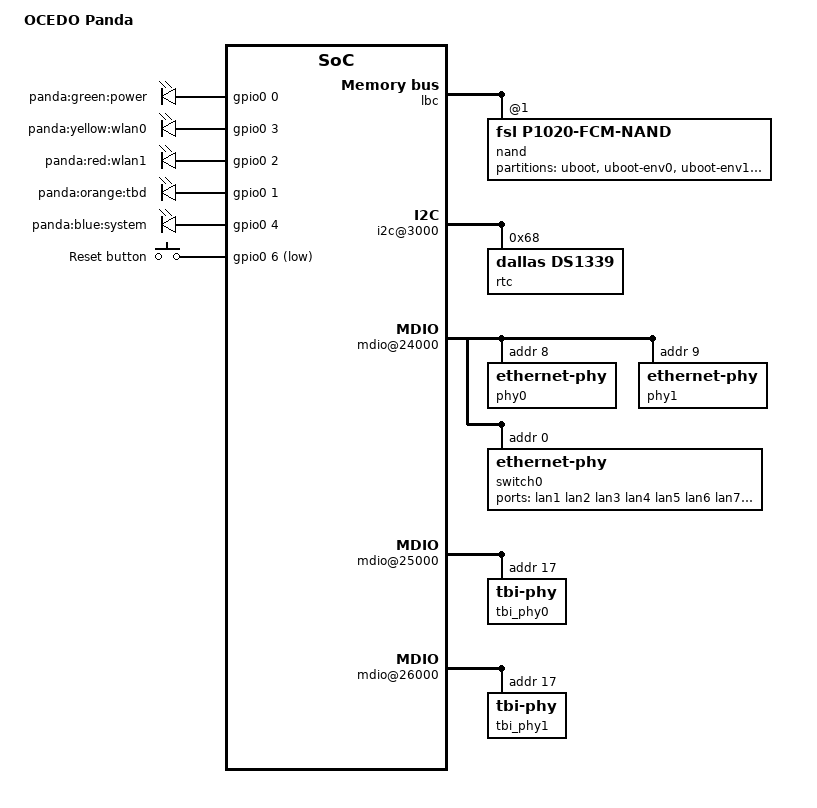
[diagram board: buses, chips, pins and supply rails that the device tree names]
// SPDX-License-Identifier: GPL-2.0-or-later or MIT

/include/ "fsl/p1020si-pre.dtsi"
/ {
	model = "OCEDO Panda";
	compatible = "ocedo,panda";

	aliases {
		led-boot = &system_blue;
		led-failsafe = &system_blue;
		led-running = &system_blue;
		led-upgrade = &system_blue;
	};

	chosen {
		/* Needed for initramfs */
		bootargs-override = "console=ttyS0,115200 ubi.mtd=3,2048";
	};

	memory {
		device_type = "memory";
	};

	lbc: localbus@ffe05000 {
		reg = <0 0xffe05000 0 0x1000>;
		ranges = <0x0 0x0 0x0 0xec000000 0x04000000
			  0x1 0x0 0x0 0xff800000 0x00040000
			  0x2 0x0 0x0 0xffa00000 0x00020000
			  0x3 0x0 0x0 0xffb00000 0x00020000>;

		nand@1,0 {
			compatible = "fsl,p1020-fcm-nand", "fsl,elbc-fcm-nand";
			reg = <0x1 0x0 0x40000>;

			partitions {
				compatible = "fixed-partitions";
				#address-cells = <1>;
				#size-cells = <1>;

				partition@0 {
					reg = <0x0 0xa0000>;
					label = "uboot";
					read-only;
				};

				partition@a0000 {
					reg = <0xa0000 0x20000>;
					label = "uboot-env0";
				};

				partition@c0000 {
					reg = <0xc0000 0x40000>;
					label = "uboot-env1";
				};

				partition@100000 {
					reg = <0x100000 0xff00000>;
					label = "ubi";
				};
			};
		};
	};

	soc: soc@ffe00000 {
		ranges = <0x0 0x0 0xffe00000 0x100000>;

		i2c@3000 {
			rtc@68 {
				compatible = "dallas,ds1339";
				reg = <0x68>;
			};
		};

		gpio0: gpio-controller@fc00 {
		};

		mdio@24000 {
			phy0: ethernet-phy@8 {
				reg = <0x8>;
			};

			phy1: ethernet-phy@9 {
				reg = <0x9>;
			};

			switch0: ethernet-phy@0 {
				reg = <0x0>;

				ports {
					#address-cells = <1>;
					#size-cells = <0>;

					port@0 {
						reg = <0>;
						label = "lan1";
					};

					port@1 {
						reg = <1>;
						label = "lan2";
					};

					port@2 {
						reg = <2>;
						label = "lan3";
					};

					port@3 {
						reg = <3>;
						label = "lan4";
					};

					port@4 {
						reg = <4>;
						label = "lan5";
					};

					port@5 {
						reg = <5>;
						label = "lan6";
					};

					port@6 {
						reg = <6>;
						label = "lan7";
					};

					port@7 {
						reg = <7>;
						label = "lan8";
					};

					port@8 {
						reg = <8>;
						label = "cpu";

						fixed-link {
							speed = <1000>;
							full-duplex;
						};
					};
				};
			};
		};

		mdio@25000 {
			tbi_phy0: tbi-phy@11 {
				reg = <0x11>;
			};
		};

		mdio@26000 {
			tbi_phy1: tbi-phy@11 {
				reg = <0x11>;
			};
		};

		enet0: ethernet@b0000 {
			phy-connection-type = "rgmii-id";
			phy-handle = <&switch0>;

			fixed-link {
				speed = <1000>;
				full-duplex;
			};
		};

		enet1: ethernet@b1000 {
			phy-connection-type = "sgmii";
			phy-handle = <&phy0>;

			tbi-handle = <&tbi_phy0>;
		};

		enet2: ethernet@b2000 {
			phy-connection-type = "sgmii";
			phy-handle = <&phy1>;

			tbi-handle = <&tbi_phy1>;
		};

		usb@22000 {
			phy_type = "ulpi";
			dr_mode = "host";
		};

		usb@23000 {
			status = "disabled";
		};
	};

	pci0: pcie@ffe09000 {
		ranges = <0x2000000 0x0 0xa0000000 0 0xa0000000 0x0 0x20000000
			  0x1000000 0x0 0x00000000 0 0xffc10000 0x0 0x10000>;
		reg = <0 0xffe09000 0 0x1000>;
		pcie@0 {
			ranges = <0x2000000 0x0 0xa0000000
				  0x2000000 0x0 0xa0000000
				  0x0 0x20000000

				  0x1000000 0x0 0x0
				  0x1000000 0x0 0x0
				  0x0 0x100000>;
		};
	};

	pci1: pcie@ffe0a000 {
		reg = <0 0xffe0a000 0 0x1000>;
		ranges = <0x2000000 0x0 0x80000000 0 0x80000000 0x0 0x20000000
			  0x1000000 0x0 0x00000000 0 0xffc00000 0x0 0x10000>;
		pcie@0 {
			ranges = <0x2000000 0x0 0x80000000
				  0x2000000 0x0 0x80000000
				  0x0 0x20000000

				  0x1000000 0x0 0x0
				  0x1000000 0x0 0x0
				  0x0 0x100000>;
		};
	};

	leds {
		compatible = "gpio-leds";

		power {
			gpios = <&gpio0 0 0>;
			label = "panda:green:power";
			default-state = "on";
		};

		wlan0 {
			gpios = <&gpio0 3 0>;
			label = "panda:yellow:wlan0";
			linux,default-trigger = "phy0tpt";
		};

		wlan1 {
			gpios = <&gpio0 2 0>;
			label = "panda:red:wlan1";
			linux,default-trigger = "phy1tpt";
		};

		tbd_orange {
			gpios = <&gpio0 1 0>;
			label = "panda:orange:tbd";
		};

		system_blue: system {
			gpios = <&gpio0 4 0>;
			label = "panda:blue:system";
		};
	};

	buttons {
		compatible = "gpio-keys";

		reset {
			label = "Reset button";
			gpios = <&gpio0 6 1>;
			linux,code = <0x198>;
		};
	};
};
/include/ "fsl/p1020si-post.dtsi"
